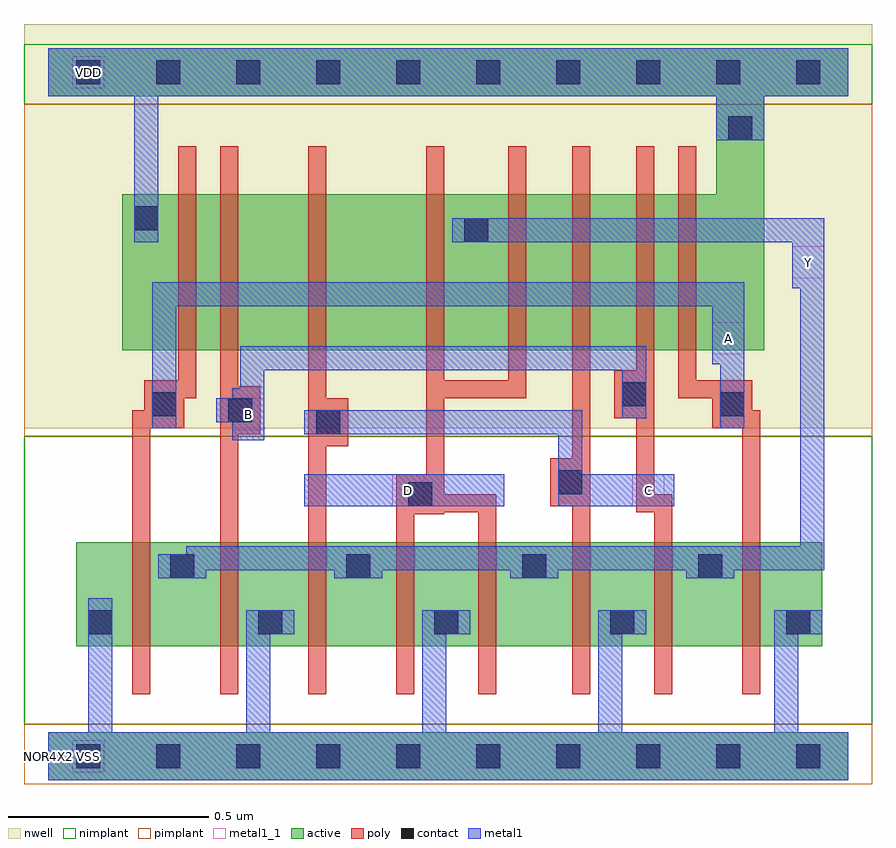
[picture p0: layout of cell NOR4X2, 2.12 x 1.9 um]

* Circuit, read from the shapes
.subckt NOR4X2 A B C D VDD VSS Y
M1 Y A VSS VSS nfet w=0.26u l=0.045u m=2
M2 VSS B Y VSS nfet w=0.26u l=0.045u m=2
M3 Y C VSS VSS nfet w=0.26u l=0.045u m=2
M4 VSS D Y VSS nfet w=0.26u l=0.045u m=2
M5 n1 A VDD VDD pfet w=0.39u l=0.045u
M6 n2 B n1 VDD pfet w=0.39u l=0.045u
M7 n3 C n2 VDD pfet w=0.39u l=0.045u
M8 Y D n3 VDD pfet w=0.39u l=0.045u
M9 n4 D Y VDD pfet w=0.39u l=0.045u
M10 n5 C n4 VDD pfet w=0.39u l=0.045u
M11 n6 B n5 VDD pfet w=0.39u l=0.045u
M12 VDD A n6 VDD pfet w=0.39u l=0.045u
.ends

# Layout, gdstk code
import gdstk
lib = gdstk.Library(unit=1e-6, precision=5e-10)
def R(c, l, rs):  # rectangles x0, y0, x1, y1
    for r in rs: c.add(gdstk.rectangle(r[:2], r[2:], *l))
def A(c, l, x, y, w, h, nx, ny, dx, dy):  # array of equal rectangles
    R(c, l, [(x+i*dx, y+j*dy, x+i*dx+w, y+j*dy+h) for i in range(nx) for j in range(ny)])
def P(c, l, *ps):  # polygons
    for p in ps: c.add(gdstk.Polygon(p, *l))
active = (1, 0)
nwell = (2, 0)
poly = (3, 0)
nimplant = (4, 0)
pimplant = (5, 0)
contact = (6, 0)
metal1 = (7, 0)
metal1_1 = (7, 1)

nor4x2 = lib.new_cell('NOR4X2')
R(nor4x2, active, [(0,-0.06,2,0.06), (0.07,0.275,1.935,0.535)])
P(nor4x2, active, [(0,1.77),(2,1.77),(2,1.65),(1.79,1.65),(1.79,1.015),(0.185,1.015),(0.185,1.405),(1.67,1.405),(1.67,1.65),(0,1.65)])
R(nor4x2, nwell, [(-0.06,0.82,2.06,1.83)])
P(nor4x2, poly, [(0.325,1.525),(0.37,1.525),(0.37,0.895),(0.34,0.895),(0.34,0.82),(0.255,0.82),(0.255,0.155),(0.21,0.155),(0.21,0.865),(0.24,0.865),(0.24,0.94),(0.325,0.94)],
  [(0.43,1.525),(0.475,1.525),(0.475,0.925),(0.53,0.925),(0.53,0.805),(0.475,0.805),(0.475,0.155),(0.43,0.155)],
  [(0.65,1.525),(0.695,1.525),(0.695,0.895),(0.75,0.895),(0.75,0.775),(0.695,0.775),(0.695,0.155),(0.65,0.155)],
  [(0.945,1.525),(0.99,1.525),(0.99,0.94),(1.15,0.94),(1.15,1.525),(1.195,1.525),(1.195,0.895),(0.99,0.895),(0.99,0.655),(1.12,0.655),(1.12,0.155),(1.075,0.155),(1.075,0.61),(0.99,0.61),(0.99,0.605),(0.915,0.605),(0.915,0.155),(0.87,0.155),(0.87,0.705),(0.945,0.705)],
  [(1.31,1.525),(1.355,1.525),(1.355,0.155),(1.31,0.155),(1.31,0.625),(1.255,0.625),(1.255,0.745),(1.31,0.745)],
  [(1.47,1.525),(1.515,1.525),(1.515,0.655),(1.56,0.655),(1.56,0.155),(1.515,0.155),(1.515,0.61),(1.47,0.61),(1.47,0.845),(1.415,0.845),(1.415,0.965),(1.47,0.965)],
  [(1.575,1.525),(1.62,1.525),(1.62,0.94),(1.76,0.94),(1.76,0.865),(1.78,0.865),(1.78,0.155),(1.735,0.155),(1.735,0.82),(1.66,0.82),(1.66,0.895),(1.575,0.895)])
R(nor4x2, nimplant, [(-0.06,0.08,2.06,0.8), (-0.06,1.63,2.06,1.78)])
R(nor4x2, pimplant, [(-0.06,-0.07,2.06,0.08), (-0.06,0.8,2.06,1.63)])
A(nor4x2, contact, 0.07, -0.03, 0.06, 0.06, 10, 2, 0.2, 1.71)
A(nor4x2, contact, 0.525, 0.305, 0.06, 0.06, 4, 1, 0.44, 0)
A(nor4x2, contact, 0.305, 0.445, 0.06, 0.06, 4, 1, 0.44, 0)
R(nor4x2, contact, [(0.1,0.305,0.16,0.365), (0.9,0.625,0.96,0.685), (1.275,0.655,1.335,0.715), (0.67,0.805,0.73,0.865), (0.45,0.835,0.51,0.895), (0.26,0.85,0.32,0.91), (1.68,0.85,1.74,0.91), (1.435,0.875,1.495,0.935), (1.04,1.285,1.1,1.345), (0.215,1.315,0.275,1.375), (1.7,1.54,1.76,1.6)])
R(nor4x2, metal1, [(0.64,0.625,1.14,0.705)])
P(nor4x2, metal1, [(0,1.77),(2,1.77),(2,1.65),(1.79,1.65),(1.79,1.54),(1.67,1.54),(1.67,1.65),(0.275,1.65),(0.275,1.285),(0.215,1.285),(0.215,1.65),(0,1.65)],
  [(1.01,1.345),(1.94,1.345),(1.94,0.465),(1.715,0.465),(1.715,0.445),(1.595,0.445),(1.595,0.465),(1.275,0.465),(1.275,0.445),(1.155,0.445),(1.155,0.465),(0.835,0.465),(0.835,0.445),(0.715,0.445),(0.715,0.465),(0.395,0.465),(0.395,0.445),(0.275,0.445),(0.275,0.505),(0.345,0.505),(0.345,0.525),(1.88,0.525),(1.88,1.17),(1.86,1.17),(1.86,1.285),(1.01,1.285)],
  [(0.26,1.185),(1.74,1.185),(1.74,0.82),(1.68,0.82),(1.68,0.98),(1.66,0.98),(1.66,1.125),(0.32,1.125),(0.32,0.82),(0.26,0.82)],
  [(0.48,1.025),(1.495,1.025),(1.495,0.845),(1.435,0.845),(1.435,0.965),(0.54,0.965),(0.54,0.79),(0.46,0.79),(0.46,0.835),(0.42,0.835),(0.42,0.895),(0.46,0.895),(0.46,0.92),(0.48,0.92)],
  [(0.64,0.865),(1.335,0.865),(1.335,0.705),(1.565,0.705),(1.565,0.625),(1.275,0.625),(1.275,0.805),(0.64,0.805)],
  [(0.1,0.395),(0.16,0.395),(0.16,0.06),(0.495,0.06),(0.495,0.365),(0.615,0.365),(0.615,0.305),(0.555,0.305),(0.555,0.06),(0.935,0.06),(0.935,0.365),(1.055,0.365),(1.055,0.305),(0.995,0.305),(0.995,0.06),(1.375,0.06),(1.375,0.365),(1.495,0.365),(1.495,0.305),(1.435,0.305),(1.435,0.06),(1.815,0.06),(1.815,0.365),(1.935,0.365),(1.935,0.305),(1.875,0.305),(1.875,0.06),(2,0.06),(2,-0.06),(0,-0.06),(0,0.06),(0.1,0.06)])
R(nor4x2, metal1_1, [(0.06,-0.04,0.14,0.04), (0.86,0.625,0.94,0.705), (1.46,0.625,1.54,0.705), (0.46,0.815,0.54,0.895), (1.66,1.005,1.74,1.085), (1.86,1.195,1.94,1.275), (0.06,1.67,0.14,1.75)])
nor4x2.add(gdstk.Label('Y', (1.9,1.235), layer=7, texttype=1))
nor4x2.add(gdstk.Label('A', (1.7,1.045), layer=7, texttype=1))
nor4x2.add(gdstk.Label('B', (0.5,0.855), layer=7, texttype=1))
nor4x2.add(gdstk.Label('C', (1.5,0.665), layer=7, texttype=1))
nor4x2.add(gdstk.Label('D', (0.9,0.665), layer=7, texttype=1))
nor4x2.add(gdstk.Label('VDD', (0.1,1.71), layer=7, texttype=1))
nor4x2.add(gdstk.Label('VSS', (0.1,0), layer=7, texttype=1))
nor4x2.add(gdstk.Label('NOR4X2', (0,0), layer=63, texttype=0))

lib.write_gds('NOR4X2.gds')
